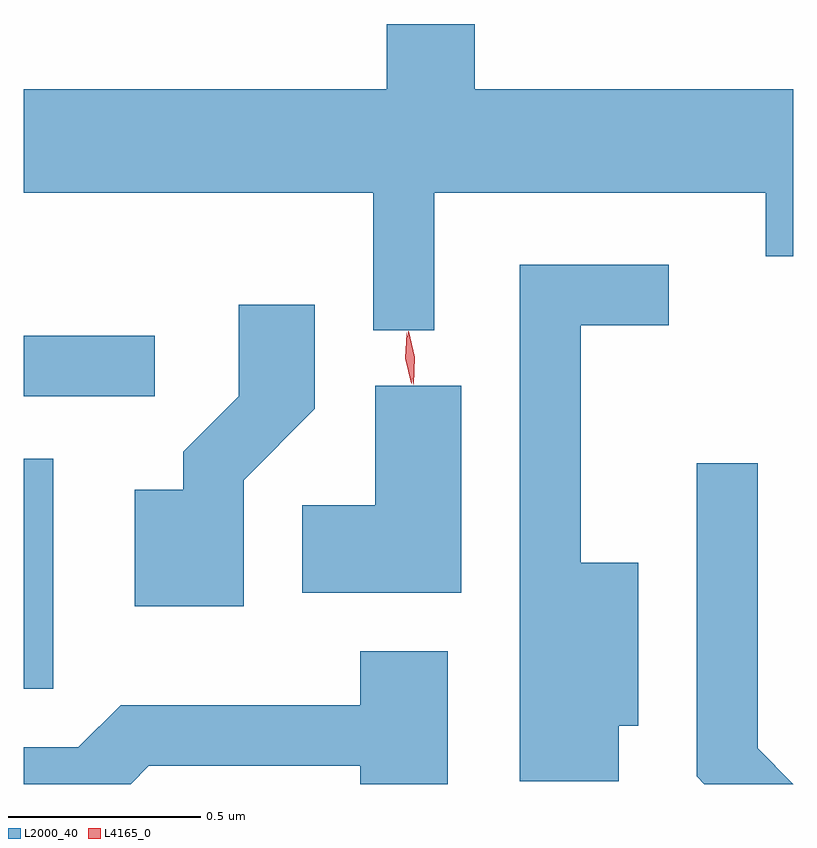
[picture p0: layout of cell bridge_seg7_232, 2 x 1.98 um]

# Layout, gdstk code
import gdstk
lib = gdstk.Library(unit=1e-6, precision=1e-09)
def R(c, l, rs):  # rectangles x0, y0, x1, y1
    for r in rs: c.add(gdstk.rectangle(r[:2], r[2:], *l))
def P(c, l, *ps):  # polygons
    for p in ps: c.add(gdstk.Polygon(p, *l))
L2000_40 = (2000, 40)
L4165_0 = (4165, 0)

bridge_seg7_232 = lib.new_cell('bridge_seg7_232')
R(bridge_seg7_232, L2000_40, [(1755.047,1719.686,1755.124,1720.284), (1755.047,1720.446,1755.388,1720.604)])
P(bridge_seg7_232, L2000_40, [(1756.114,1720.976),(1756.976,1720.976),(1756.976,1720.811),(1757.047,1720.811),(1757.047,1721.244),(1756.219,1721.244),(1756.219,1721.414),(1755.991,1721.414),(1755.991,1721.244),(1755.047,1721.244),(1755.047,1720.976),(1755.956,1720.976),(1755.956,1720.618),(1756.114,1720.618)],
  [(1756.594,1719.591),(1756.644,1719.591),(1756.644,1720.014),(1756.494,1720.014),(1756.494,1720.631),(1756.723,1720.631),(1756.723,1720.789),(1756.336,1720.789),(1756.336,1719.446),(1756.594,1719.446)],
  [(1755.619,1720.229),(1755.804,1720.414),(1755.804,1720.684),(1755.606,1720.684),(1755.606,1720.447),(1755.461,1720.302),(1755.461,1720.204),(1755.336,1720.204),(1755.336,1719.901),(1755.619,1719.901)],
  [(1756.184,1720.474),(1755.961,1720.474),(1755.961,1720.164),(1755.771,1720.164),(1755.771,1719.936),(1756.184,1719.936)],
  [(1756.954,1719.532),(1756.954,1720.273),(1756.796,1720.273),(1756.796,1719.459),(1756.816,1719.439),(1757.047,1719.439)],
  [(1755.372,1719.486),(1755.921,1719.486),(1755.921,1719.439),(1756.149,1719.439),(1756.149,1719.784),(1755.921,1719.784),(1755.921,1719.644),(1755.299,1719.644),(1755.189,1719.534),(1755.047,1719.534),(1755.047,1719.439),(1755.325,1719.439)])
P(bridge_seg7_232, L4165_0, [(1756.06,1720.477),(1756.06,1720.478),(1756.043,1720.546),(1756.046,1720.616),(1756.046,1720.616),(1756.047,1720.616),(1756.063,1720.548),(1756.061,1720.478)],
  [(1756.054,1720.48),(1756.039,1720.545),(1756.042,1720.611),(1756.042,1720.612),(1756.043,1720.611),(1756.058,1720.546),(1756.055,1720.48),(1756.055,1720.48)])

lib.write_gds('bridge_seg7_232.gds')
